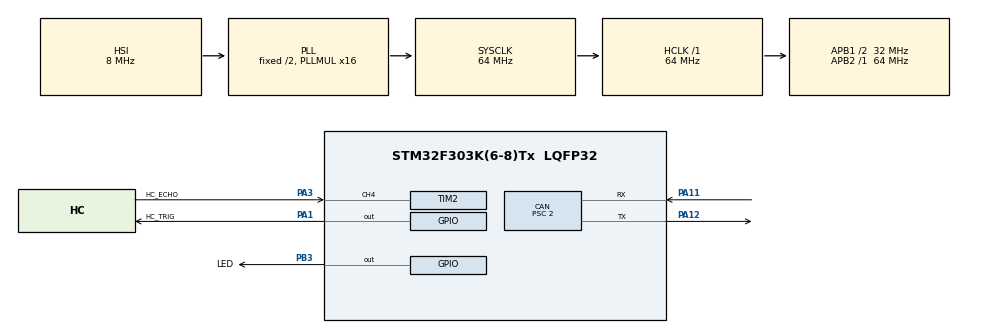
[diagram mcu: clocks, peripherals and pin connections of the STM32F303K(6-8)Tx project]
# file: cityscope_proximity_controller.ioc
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CAN.ABOM=ENABLE
CAN.AWUM=ENABLE
CAN.BS1=CAN_BS1_13TQ
CAN.BS2=CAN_BS2_2TQ
CAN.CalculateBaudRate=1000000
CAN.CalculateTimeBit=1000
CAN.CalculateTimeQuantum=62.5
CAN.NART=ENABLE
CAN.Prescaler=2
CAN.RFLM=ENABLE
CAN.SJW=CAN_SJW_2TQ
CAN.TTCM=ENABLE
CAN.TXFP=ENABLE
FREERTOS.Tasks01=ReadDistance,40,128,StartReadDistance,Default,NULL,Dynamic,NULL,NULL;UITask,24,128,StartUITask,Default,NULL,Dynamic,NULL,NULL;canopenTask,48,128,canopen_task,Default,NULL,Dynamic,NULL,NULL
Mcu.Family=STM32F3
Mcu.Name=STM32F303K(6-8)Tx
Mcu.Package=LQFP32
NVIC.CAN_RX0_IRQn=true\:5\:0\:false\:false\:true\:true\:true\:true\:true
NVIC.CAN_RX1_IRQn=true\:5\:0\:false\:false\:true\:true\:true\:true\:true
NVIC.CAN_TX_IRQn=true\:5\:0\:false\:false\:true\:true\:true\:true\:true
NVIC.PriorityGroup=NVIC_PRIORITYGROUP_4
NVIC.TIM1_TRG_COM_TIM17_IRQn=true\:5\:0\:false\:false\:true\:true\:true\:true\:true
NVIC.TIM1_UP_TIM16_IRQn=true\:5\:0\:false\:false\:true\:false\:false\:true\:true
NVIC.TIM2_IRQn=true\:5\:0\:false\:false\:true\:true\:true\:true\:true
NVIC.TimeBase=TIM1_UP_TIM16_IRQn
NVIC.TimeBaseIP=TIM1
PA0.GPIO_Label=N_DI
PA0.GPIO_ModeDefaultPP=GPIO_MODE_AF_PP
PA0.GPIO_PuPd=GPIO_NOPULL
PA0.GPIO_Speed=GPIO_SPEED_FREQ_LOW
PA0.Signal=S_TIM2_CH1_ETR
PA1.GPIO_Label=HC_TRIG
PA1.Signal=GPIO_Output
PA11.GPIO_PuPd=GPIO_PULLUP
PA11.Mode=CAN_Activate
PA11.Signal=CAN_RX
PA12.Mode=CAN_Activate
PA12.Signal=CAN_TX
PA13.Mode=Serial_Wire
PA13.Signal=SYS_JTMS-SWDIO
PA14.Mode=Serial_Wire
PA14.Signal=SYS_JTCK-SWCLK
PA3.GPIO_Label=HC_ECHO
PA3.Signal=S_TIM2_CH4
PB3.GPIO_Label=LED
PB3.Signal=GPIO_Output
ProjectManager.HeapSize=0x200
ProjectManager.StackSize=0x400
ProjectManager.TargetToolchain=Makefile
RCC.AHBFreq_Value=64000000
RCC.APB1CLKDivider=RCC_HCLK_DIV2
RCC.APB1Freq_Value=32000000
RCC.APB1TimFreq_Value=64000000
RCC.APB2Freq_Value=64000000
RCC.APB2TimFreq_Value=64000000
RCC.CortexFreq_Value=64000000
RCC.HCLKFreq_Value=64000000
RCC.HSE_VALUE=8000000
RCC.HSI_VALUE=8000000
RCC.PLLMUL=RCC_PLL_MUL16
RCC.SYSCLKFreq_VALUE=64000000
RCC.SYSCLKSourceVirtual=RCC_SYSCLKSOURCE_PLLCLK
SH.S_TIM2_CH1_ETR.0=TIM2_CH1
SH.S_TIM2_CH4.0=TIM2_CH4,Input_Capture4_from_TI4
TIM17.Period=1000
TIM17.Prescaler=63
TIM2.Channel-Input_Capture4_from_TI4=TIM_CHANNEL_4
TIM2.ICPolarity_CH4=TIM_INPUTCHANNELPOLARITY_BOTHEDGE
TIM2.Period=0xffffffff-1
TIM2.Prescaler=64-1
TIM3.Prescaler=64-1
VP_FREERTOS_VS_CMSIS_V2.Mode=CMSIS_V2
VP_SYS_VS_tim1.Mode=TIM1
VP_TIM17_VS_ClockSourceINT.Mode=Enable_Timer
VP_TIM2_VS_ClockSourceINT.Mode=Internal
VP_TIM3_VS_ClockSourceINT.Mode=Internal
board=custom

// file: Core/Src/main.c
/* USER CODE BEGIN Header */
/**
 ******************************************************************************
 * @file           : main.c
 * @brief          : Main program body
 ******************************************************************************
 * @attention
 *
 * Copyright (c) 2023 STMicroelectronics.
 * All rights reserved.
 *
 * This software is licensed under terms that can be found in the LICENSE file
 * in the root directory of this software component.
 * If no LICENSE file comes with this software, it is provided AS-IS.
 *
 ******************************************************************************
 */
/* USER CODE END Header */
#include "main.h"
#include "cmsis_os.h"
#include "can.h"
#include "tim.h"
#include "gpio.h"

/* USER CODE BEGIN Includes */
#include "CO_app_STM32.h"
/* USER CODE END Includes */

void SystemClock_Config(void);
void MX_FREERTOS_Init(void);
/* USER CODE BEGIN PFP */
uint32_t get_NodeID(void);
uint32_t NodeID[1];
/* USER CODE END PFP */

int main(void)
{

  /* MCU Configuration--------------------------------------------------------*/

  /* Reset of all peripherals, Initializes the Flash interface and the Systick. */
  HAL_Init();

  /* Configure the system clock */
  SystemClock_Config();

  /* Initialize all configured peripherals */
  MX_GPIO_Init();
  MX_CAN_Init();
  MX_TIM2_Init();
  MX_TIM3_Init();
  MX_TIM17_Init();
  /* USER CODE BEGIN 2 */
  HCSR04_Init(&htim2);
  Flash_Read_Data(0x0800FFFC, NodeID, 1);
  HAL_FLASH_Lock();
  /* USER CODE END 2 */

  /* Init scheduler */
  osKernelInitialize(); /* Call init function for freertos objects (in freertos.c) */
  MX_FREERTOS_Init();

  /* Start scheduler */
  osKernelStart();

  /* We should never get here as control is now taken by the scheduler */
  /* Infinite loop */
  while (1)
  {

  }
}

void SystemClock_Config(void)
{
  RCC_OscInitTypeDef RCC_OscInitStruct = {0};
  RCC_ClkInitTypeDef RCC_ClkInitStruct = {0};

  /** Initializes the RCC Oscillators according to the specified parameters
   * in the RCC_OscInitTypeDef structure.
   */
  RCC_OscInitStruct.OscillatorType = RCC_OSCILLATORTYPE_HSI;
  RCC_OscInitStruct.HSIState = RCC_HSI_ON;
  RCC_OscInitStruct.HSICalibrationValue = RCC_HSICALIBRATION_DEFAULT;
  RCC_OscInitStruct.PLL.PLLState = RCC_PLL_ON;
  RCC_OscInitStruct.PLL.PLLSource = RCC_PLLSOURCE_HSI;
  RCC_OscInitStruct.PLL.PLLMUL = RCC_PLL_MUL16;
  if (HAL_RCC_OscConfig(&RCC_OscInitStruct) != HAL_OK)
  {
    Error_Handler();
  }

  /** Initializes the CPU, AHB and APB buses clocks
   */
  RCC_ClkInitStruct.ClockType = RCC_CLOCKTYPE_HCLK | RCC_CLOCKTYPE_SYSCLK | RCC_CLOCKTYPE_PCLK1 | RCC_CLOCKTYPE_PCLK2;
  RCC_ClkInitStruct.SYSCLKSource = RCC_SYSCLKSOURCE_PLLCLK;
  RCC_ClkInitStruct.AHBCLKDivider = RCC_SYSCLK_DIV1;
  RCC_ClkInitStruct.APB1CLKDivider = RCC_HCLK_DIV2;
  RCC_ClkInitStruct.APB2CLKDivider = RCC_HCLK_DIV1;

  if (HAL_RCC_ClockConfig(&RCC_ClkInitStruct, FLASH_LATENCY_2) != HAL_OK)
  {
    Error_Handler();
  }
}

/* USER CODE BEGIN 4 */
uint32_t get_NodeID(void)
{
  return NodeID[0];
}
/* USER CODE END 4 */

void HAL_TIM_PeriodElapsedCallback(TIM_HandleTypeDef *htim)
{
  if (htim->Instance == TIM1)
  {
    HAL_IncTick();
  }
  /* USER CODE BEGIN Callback 1 */
  if (htim == canopenNodeSTM32->timerHandle)
  {
    canopen_app_interrupt();
  }
  /* USER CODE END Callback 1 */
}

void Error_Handler(void)
{
  __disable_irq();
  while (1)
  {
  }
}

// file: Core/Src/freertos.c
/* USER CODE BEGIN Header */
/**
 ******************************************************************************
 * File Name          : freertos.c
 * Description        : Code for freertos applications
 ******************************************************************************
 * @attention
 *
 * Copyright (c) 2023 STMicroelectronics.
 * All rights reserved.
 *
 * This software is licensed under terms that can be found in the LICENSE file
 * in the root directory of this software component.
 * If no LICENSE file comes with this software, it is provided AS-IS.
 *
 ******************************************************************************
 */
/* USER CODE END Header */

#include "FreeRTOS.h"
#include "task.h"
#include "main.h"
#include "cmsis_os.h"

/* USER CODE BEGIN Includes */
#include "CO_app_STM32.h"
#include "OD.h"
#include "tim.h"
#include "hc_sr04.h"
#include "comment.h"
#include "can.h"
/* USER CODE END Includes */

/* Definitions for ReadDistance */
osThreadId_t ReadDistanceHandle;
const osThreadAttr_t ReadDistance_attributes = {
    .name = "ReadDistance",
    .stack_size = 128 * 4,
    .priority = (osPriority_t)osPriorityHigh,
};
/* Definitions for UITask */
osThreadId_t UITaskHandle;
const osThreadAttr_t UITask_attributes = {
    .name = "UITask",
    .stack_size = 128 * 4,
    .priority = (osPriority_t)osPriorityNormal,
};
/* Definitions for canopenTask */
osThreadId_t canopenTaskHandle;
const osThreadAttr_t canopenTask_attributes = {
    .name = "canopenTask",
    .stack_size = 128 * 4,
    .priority = (osPriority_t)osPriorityRealtime,
};

void StartReadDistance(void *argument);
void StartUITask(void *argument);
void canopen_task(void *argument);

void MX_FREERTOS_Init(void); /* (MISRA C 2004 rule 8.1) */

void MX_FREERTOS_Init(void)
{

  /* Create the thread(s) */
  /* creation of ReadDistance */
  ReadDistanceHandle = osThreadNew(StartReadDistance, NULL, &ReadDistance_attributes);

  /* creation of UITask */
  UITaskHandle = osThreadNew(StartUITask, NULL, &UITask_attributes);

  /* creation of canopenTask */
  canopenTaskHandle = osThreadNew(canopen_task, NULL, &canopenTask_attributes);

}

void StartReadDistance(void *argument)
{
  /* USER CODE BEGIN StartReadDistance */
  /* Infinite loop */
  for (;;)
  {
    int16_t dis = HCSR04_Get_Distance();
    if (dis == -1)
      continue;
    if (dis < 5 && dis != 0)
    {
      OD_PERSIST_COMM.x6000_proximity_data = dis;
      OD_set_u16(OD_find(OD, 0x6000), 0x000, OD_PERSIST_COMM.x6000_proximity_data, false); // change_obj, index change , value,false
      CO_TPDOsendRequest(&canopenNodeSTM32->canOpenStack->TPDO[0]); // send openstack TPDO[0]
      osDelay(3000);
    }
  }
  /* USER CODE END StartReadDistance */
}

void StartUITask(void *argument)
{
  /* USER CODE BEGIN StartUITask */
  /* Infinite loop */
  for (;;)
  {
    int16_t dis = HCSR04_Get_Distance();
    if (dis == -1)
      continue;
    HAL_GPIO_TogglePin(LED_GPIO_Port, LED_Pin);
    if ((dis * 5) > 2000)
    {
      osDelay(2000);
    }
    else
    {
      osDelay(dis * 5);
    }
  }
  /* USER CODE END StartUITask */
}

void canopen_task(void *argument)
{
  /* USER CODE BEGIN canopen_task */
  CANopenNodeSTM32 canOpenNodeSTM32;
  canOpenNodeSTM32.CANHandle = &hcan;
  canOpenNodeSTM32.HWInitFunction = MX_CAN_Init;
  canOpenNodeSTM32.timerHandle = &htim17;
  canOpenNodeSTM32.desiredNodeID = (uint8_t)get_NodeID();
  canOpenNodeSTM32.baudrate = 125;
  canopen_app_init(&canOpenNodeSTM32);
  /* Infinite loop */
  for (;;)
  {
    canopen_app_process();
    HCSR04_Read();
    osDelay(1);
  }
  /* USER CODE END canopen_task */
}
